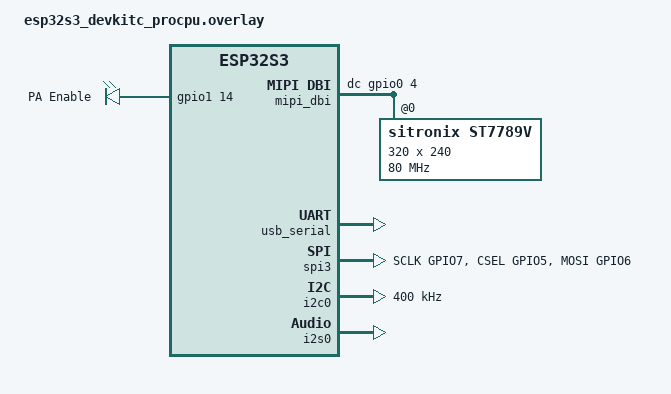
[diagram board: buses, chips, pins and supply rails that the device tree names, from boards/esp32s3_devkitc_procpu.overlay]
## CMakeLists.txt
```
cmake_minimum_required(VERSION 3.20.0)
find_package(Zephyr REQUIRED HINTS $ENV{ZEPHYR_BASE})
project(nes_emulator)

# ── nofrendo source location (from west-managed esp32-nesemu) ─────────────────
# ZEPHYR_BASE = <workspace>/zephyr ; WEST_TOPDIR = <workspace>
get_filename_component(WEST_TOPDIR ${ZEPHYR_BASE} DIRECTORY)
set(NOFRENDO_DIR ${WEST_TOPDIR}/modules/esp32-nesemu/components/nofrendo)

if(NOT IS_DIRECTORY "${NOFRENDO_DIR}")
    message(FATAL_ERROR
        "nofrendo not found at ${NOFRENDO_DIR}\n"
        "Run:  west update\n"
        "Or:   git clone https://github.com/espressif/esp32-nesemu "
        "${WEST_TOPDIR}/modules/esp32-nesemu")
endif()

# Collect all nofrendo .c sources
file(GLOB NOFRENDO_SRCS_ROOT  "${NOFRENDO_DIR}/*.c")
file(GLOB NOFRENDO_SRCS_CPU   "${NOFRENDO_DIR}/cpu/*.c")
file(GLOB NOFRENDO_SRCS_SNSS  "${NOFRENDO_DIR}/libsnss/*.c")
file(GLOB NOFRENDO_SRCS_MAP   "${NOFRENDO_DIR}/mappers/*.c")
file(GLOB NOFRENDO_SRCS_NES   "${NOFRENDO_DIR}/nes/*.c")
file(GLOB NOFRENDO_SRCS_SND   "${NOFRENDO_DIR}/sndhrdw/*.c")

set(NOFRENDO_SRCS
    ${NOFRENDO_SRCS_ROOT}
    ${NOFRENDO_SRCS_CPU}
    ${NOFRENDO_SRCS_SNSS}
    ${NOFRENDO_SRCS_MAP}
    ${NOFRENDO_SRCS_NES}
    ${NOFRENDO_SRCS_SND})

# Exclude config.c — we provide our own config_t stub in osd.c
list(FILTER NOFRENDO_SRCS EXCLUDE REGEX "config\\.c$")

# nofrendo public include directories
set(NOFRENDO_INCS
    ${NOFRENDO_DIR}
    ${NOFRENDO_DIR}/cpu
    ${NOFRENDO_DIR}/libsnss
    ${NOFRENDO_DIR}/mappers
    ${NOFRENDO_DIR}/nes
    ${NOFRENDO_DIR}/sndhrdw)

# ── NES ROM binary embedded via INCBIN ───────────────────────────────────────
set(NES_ROM_FILE "${CMAKE_CURRENT_LIST_DIR}/rom/sbp.nes")
if(NOT EXISTS "${NES_ROM_FILE}")
    message(FATAL_ERROR
        "NES ROM not found: ${NES_ROM_FILE}\n"
        "Place any iNES format ROM as:  nes_emulator/rom/roborun.nes\n"
        "  e.g. RoboRun-NES_1.1.nes from: https://github.com/jones-hm/roborun-nes/releases")
endif()

# Generate rom.S with the absolute ROM path substituted
configure_file(
    ${CMAKE_CURRENT_LIST_DIR}/src/rom.S.in
    ${CMAKE_CURRENT_BINARY_DIR}/rom.S
    @ONLY)

# ── Build target ─────────────────────────────────────────────────────────────
target_sources(app PRIVATE
    src/main.c
    src/osd.c
    src/compat.c
    src/ble_hid.c
    ${CMAKE_CURRENT_BINARY_DIR}/rom.S
    ${NOFRENDO_SRCS})

# Prepend src/ so our header overrides (noftypes.h, memguard.h) shadow nofrendo's
target_include_directories(app BEFORE PRIVATE ${CMAKE_CURRENT_LIST_DIR}/src)
target_include_directories(app PRIVATE ${NOFRENDO_INCS})

# Suppress all warnings for legacy nofrendo source (bool redefinition, etc.)
foreach(src ${NOFRENDO_SRCS})
    set_source_files_properties(${src} PROPERTIES COMPILE_FLAGS "-w")
endforeach()

# nofrendo preprocessor definitions
# NOTE: Do NOT define NOFRENDO_DEBUG (even as 0).
# Defining it makes memguard.h's #ifdef NOFRENDO_DEBUG trigger,
# redefining malloc/free as macros which breaks picolibc stdlib.h.
target_compile_definitions(app PRIVATE
    HOST_LITTLE_ENDIAN=1)

# Suppress bool/type-compat warnings in our OSD layer where nofrendo's
# enum-bool typedef conflicts with picolibc's _Bool keyword from stdbool.h.
set_source_files_properties(
    ${CMAKE_CURRENT_LIST_DIR}/src/osd.c
    PROPERTIES COMPILE_FLAGS
    "-Wno-incompatible-pointer-types -Wno-builtin-macro-redefined")
set_source_files_properties(
    ${CMAKE_CURRENT_LIST_DIR}/src/main.c
    PROPERTIES COMPILE_FLAGS
    "-Wno-builtin-macro-redefined")
```

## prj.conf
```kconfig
# ── Console ──────────────────────────────────────────────────────────────────
CONFIG_PRINTK=y
CONFIG_CONSOLE=y
CONFIG_UART_CONSOLE=y
CONFIG_SERIAL=y

# ── GPIO (display backlight) ─────────────────────────────────────────────────
CONFIG_GPIO=y

# ── SPI + Display ─────────────────────────────────────────────────────────────
CONFIG_SPI=y
CONFIG_DISPLAY=y
CONFIG_MIPI_DBI=y

# ── System heap ──────────────────────────────────────────────────────────────
# nofrendo calls malloc() (via _my_malloc / memguard.h) which uses picolibc's
# heap, NOT Zephyr's k_malloc heap. The libc heap = total DRAM minus everything
# else (including HEAP_MEM_POOL_SIZE). Keep k_malloc heap small so the remaining
# DRAM goes to the libc heap where nofrendo needs it (~130KB).
CONFIG_HEAP_MEM_POOL_SIZE=16384

# ── POSIX API: provides strdup() / snprintf() used by nofrendo ───────────────
CONFIG_POSIX_API=y

# ── Stack — nofrendo has deep call chains ─────────────────────────────────────
CONFIG_MAIN_STACK_SIZE=32768

# ── Logging — DISABLED: nofrendo/log.c defines log_init() which conflicts
# with Zephyr's subsys/logging/log_core.c. printk() still works independently.
# CONFIG_LOG=y

# ── Bluetooth HID Host ───────────────────────────────────────────────────────
CONFIG_BT=y
CONFIG_BT_CENTRAL=y
CONFIG_BT_SMP=y
CONFIG_BT_GATT_CLIENT=y
CONFIG_BT_MAX_CONN=1
CONFIG_BT_MAX_PAIRED=2
CONFIG_BT_ATT_TX_COUNT=6
CONFIG_BT_L2CAP_TX_BUF_COUNT=6
CONFIG_BT_BUF_ACL_RX_SIZE=200
CONFIG_BT_BUF_ACL_TX_SIZE=200
CONFIG_BT_SMP_SC_ONLY=n
CONFIG_BT_SMP_SC_PAIR_ONLY=n
CONFIG_BT_SMP_ENFORCE_MITM=n
CONFIG_BT_SMP_ALLOW_UNAUTH_OVERWRITE=y
CONFIG_BT_KEYS_OVERWRITE_OLDEST=y
CONFIG_BT_BONDABLE=y

# ── BT persistent settings (bond storage) ─────────────────────────────────────
CONFIG_BT_SETTINGS=y
CONFIG_SETTINGS=y
CONFIG_SETTINGS_NVS=y
CONFIG_NVS=y
CONFIG_FLASH=y
CONFIG_FLASH_MAP=y
CONFIG_FLASH_PAGE_LAYOUT=y

# ── Audio: ES8311 DAC via I2C + I2S ──────────────────────────────────────────
CONFIG_I2C=y
CONFIG_I2S=y
CONFIG_DMA=y
CONFIG_I2S_ESP32_TX_BLOCK_COUNT=10
```

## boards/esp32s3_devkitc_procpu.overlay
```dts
/* CHD-ESP32-S3-BOX: NES Emulator
 * ST7789V 320×240 via SPI3 / MIPI-DBI
 * ES8311 Audio DAC via I2C0 + I2S0
 * BLE HID keyboard input
 */

#include <zephyr/dt-bindings/pinctrl/esp-pinctrl-common.h>
#include <dt-bindings/pinctrl/esp32s3-pinctrl.h>
#include <zephyr/dt-bindings/pinctrl/esp32s3-gpio-sigmap.h>
#include <zephyr/dt-bindings/mipi_dbi/mipi_dbi.h>

/ {
	chosen {
		zephyr,console = &usb_serial;
		zephyr,shell-uart = &usb_serial;
		zephyr,display = &st7789v;
	};

	pa_ctrl {
		compatible = "gpio-leds";
		pa_gpio: pa_gpio {
			gpios = <&gpio1 14 GPIO_ACTIVE_HIGH>;
			label = "PA Enable";
		};
	};

	mipi_dbi {
		compatible = "zephyr,mipi-dbi-spi";
		dc-gpios = <&gpio0 4 GPIO_ACTIVE_HIGH>;
		spi-dev = <&spi3>;
		write-only;
		#address-cells = <1>;
		#size-cells = <0>;

		st7789v: st7789v@0 {
			compatible = "sitronix,st7789v";
			mipi-max-frequency = <80000000>;
			reg = <0>;
			width = <320>;
			height = <240>;
			x-offset = <0>;
			y-offset = <0>;
			vcom = <0x19>;
			gctrl = <0x35>;
			vrhs = <0x12>;
			vdvs = <0x20>;
			mdac = <0x60>;
			gamma = <0x01>;
			colmod = <0x55>;
			inversion-off;
			lcm = <0x2c>;
			porch-param = [0c 0c 00 33 33];
			cmd2en-param = [5a 69 02 01];
			pwctrl1-param = [a4 a1];
			pvgam-param = [D0 04 0D 11 13 2B 3F 54 4C 18 0D 0B 1F 23];
			nvgam-param = [D0 04 0C 11 13 2C 3F 44 51 2F 1F 1F 20 23];
			ram-param = [00 F0];
			rgb-param = [CD 08 14];
			mipi-mode = "MIPI_DBI_MODE_SPI_4WIRE";
		};
	};
};

&usb_serial {
	status = "okay";
};

&pinctrl {
	spim3_default: spim3_default {
		group1 {
			pinmux = <SPIM3_SCLK_GPIO7>,
				 <SPIM3_CSEL_GPIO5>;
		};
		group2 {
			pinmux = <SPIM3_MOSI_GPIO6>;
			output-low;
		};
	};

	i2c0_default: i2c0_default {
		group1 {
			pinmux = <I2C0_SDA_GPIO8>,
				 <I2C0_SCL_GPIO18>;
			bias-pull-up;
			drive-open-drain;
			output-high;
		};
	};

	i2s0_default: i2s0_default {
		group1 {
			pinmux = <I2S0_MCLK_GPIO2>,
				 <I2S0_O_WS_GPIO45>,
				 <I2S0_O_BCK_GPIO17>,
				 <I2S0_O_SD_GPIO15>;
			output-enable;
		};
		group2 {
			pinmux = <I2S0_I_SD_GPIO16>;
			input-enable;
		};
	};
};

&spi3 {
	#address-cells = <1>;
	#size-cells = <0>;
	status = "okay";
	pinctrl-0 = <&spim3_default>;
	pinctrl-names = "default";
};

&i2c0 {
	status = "okay";
	clock-frequency = <I2C_BITRATE_FAST>;
	pinctrl-0 = <&i2c0_default>;
	pinctrl-names = "default";
};

i2s_rxtx: &i2s0 {
	pinctrl-0 = <&i2s0_default>;
	pinctrl-names = "default";
	status = "okay";
};

&dma {
	status = "okay";
};
```

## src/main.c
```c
/*
 * NES Emulator — main entry point
 *
 * Board:  CHD-ESP32-S3-BOX (ESP32-S3, 16 MB Flash, 16 MB OctalPSRAM)
 * RTOS:   Zephyr v4.2
 *
 * Flow:
 *   main()
 *     └─ nofrendo_main(0, NULL)           [never returns]
 *           └─ osd_main()                 [our impl in osd.c]
 *                 └─ main_loop("osd:", system_nes)
 *                       ├─ osd_init()     [display ready]
 *                       ├─ osd_getvideoinfo() → vid_init() → zephyr_vid_init()
 *                       ├─ osd_installtimer(60, ...) → k_timer at 60 Hz
 *                       └─ nes_emulate()  [emulation loop, calls osd_getinput
 *                                          and zephyr_custom_blit each frame]
 *
 * Include nofrendo types BEFORE Zephyr headers (see osd.c for explanation).
 */

#include <noftypes.h>
#include <nofrendo.h>
/* Undo memguard.h macro redefinitions (same as memguard.c itself does) */
#undef malloc
#undef free
#undef strdup

#include <zephyr/kernel.h>

int main(void)
{
	printk("=== NES Emulator starting (nofrendo / esp32-nesemu) ===\n");

	/*
	 * nofrendo_main() → osd_main() → main_loop() — does not return
	 * under normal emulation.
	 */
	int rc = nofrendo_main(0, NULL);

	printk("NES Emulator exited with code %d\n", rc);
	return rc;
}
```

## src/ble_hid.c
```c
/*
 * BLE HID Host (Central) - Multi-device
 * Adapted for LVGL input integration — updates g_mouse shared state.
 */

#include <zephyr/types.h>
#include <stddef.h>
#include <string.h>
#include <errno.h>
#include <zephyr/kernel.h>
#include <zephyr/sys/printk.h>
#include <zephyr/sys/byteorder.h>
#include <zephyr/sys/util.h>

#include <zephyr/bluetooth/bluetooth.h>
#include <zephyr/bluetooth/hci.h>
#include <zephyr/bluetooth/conn.h>
#include <zephyr/bluetooth/uuid.h>
#include <zephyr/bluetooth/gatt.h>
#include <zephyr/settings/settings.h>

#include "ble_hid.h"

/* ── Shared state for LVGL ─────────────────────────── */

struct mouse_input_state g_mouse;

/* Keyboard event queue: BT thread → LVGL main thread */
static char __aligned(4) kb_msgq_buf[KB_EVENT_QUEUE_SIZE * sizeof(struct kb_event)];
struct k_msgq kb_events;
volatile bool g_kb_connected;

/* ── HID Service UUIDs ─────────────────────────────── */

#ifndef BT_UUID_HIDS_BOOT_KB_IN_REPORT_VAL
#define BT_UUID_HIDS_BOOT_KB_IN_REPORT_VAL 0x2A22
#endif
#define BT_UUID_HIDS_BOOT_KB_IN_REPORT \
	BT_UUID_DECLARE_16(BT_UUID_HIDS_BOOT_KB_IN_REPORT_VAL)

#ifndef BT_UUID_HIDS_BOOT_MOUSE_IN_REPORT_VAL
#define BT_UUID_HIDS_BOOT_MOUSE_IN_REPORT_VAL 0x2A33
#endif
#define BT_UUID_HIDS_BOOT_MOUSE_IN_REPORT \
	BT_UUID_DECLARE_16(BT_UUID_HIDS_BOOT_MOUSE_IN_REPORT_VAL)

#ifndef BT_UUID_HIDS_REPORT_VAL
#define BT_UUID_HIDS_REPORT_VAL 0x2A4D
#endif
#define BT_UUID_HIDS_REPORT \
	BT_UUID_DECLARE_16(BT_UUID_HIDS_REPORT_VAL)

/* ── Appearance codes ──────────────────────────────── */

#define BT_APPEARANCE_KEYBOARD 0x03C1
#define BT_APPEARANCE_MOUSE    0x03C2
#define BT_APPEARANCE_GAMEPAD  0x03C4

/* ── Keycode to ASCII ──────────────────────────────── */

static const char hid_keycode_to_ascii[128] = {
	[0x04] = 'a', [0x05] = 'b', [0x06] = 'c', [0x07] = 'd',
	[0x08] = 'e', [0x09] = 'f', [0x0A] = 'g', [0x0B] = 'h',
	[0x0C] = 'i', [0x0D] = 'j', [0x0E] = 'k', [0x0F] = 'l',
	[0x10] = 'm', [0x11] = 'n', [0x12] = 'o', [0x13] = 'p',
	[0x14] = 'q', [0x15] = 'r', [0x16] = 's', [0x17] = 't',
	[0x18] = 'u', [0x19] = 'v', [0x1A] = 'w', [0x1B] = 'x',
	[0x1C] = 'y', [0x1D] = 'z',
	[0x1E] = '1', [0x1F] = '2', [0x20] = '3', [0x21] = '4',
	[0x22] = '5', [0x23] = '6', [0x24] = '7', [0x25] = '8',
	[0x26] = '9', [0x27] = '0',
	[0x28] = '\n', [0x29] = 0x1B, [0x2A] = '\b', [0x2B] = '\t',
	[0x2C] = ' ',
	[0x2D] = '-', [0x2E] = '=', [0x2F] = '[', [0x30] = ']',
	[0x31] = '\\', [0x33] = ';', [0x34] = '\'', [0x35] = '`',
	[0x36] = ',', [0x37] = '.', [0x38] = '/',
};

#define MOD_LCTRL  BIT(0)
#define MOD_LSHIFT BIT(1)
#define MOD_LALT   BIT(2)
#define MOD_LGUI   BIT(3)
#define MOD_RCTRL  BIT(4)
#define MOD_RSHIFT BIT(5)
#define MOD_RALT   BIT(6)
#define MOD_RGUI   BIT(7)

/* ── Multi-device state ────────────────────────────── */

#define MAX_HID_DEVICES 2

enum hid_device_type {
	HID_TYPE_UNKNOWN,
	HID_TYPE_KEYBOARD,
	HID_TYPE_MOUSE,
	HID_TYPE_GAMEPAD,
};

#define DISC_SVC          0
#define DISC_ENUM         1
#define DISC_REPORT_CHAR  2
#define DISC_BOOT_CHAR    3
#define DISC_CCC          4

#define MAX_REPORT_CHARS 6

struct hid_device {
	struct bt_conn *conn;
	enum hid_device_type type;
	struct bt_uuid_16 disc_uuid;
	struct bt_gatt_discover_params disc_params;
	struct bt_gatt_subscribe_params sub_params[MAX_REPORT_CHARS];
	uint16_t report_handles[MAX_REPORT_CHARS];
	int report_count;
	int report_try_idx;
	int sub_count;
	int disc_phase;
	uint16_t hid_svc_start;
	uint16_t hid_svc_end;
	bool subscribed;
	uint8_t prev_keys[6];
	uint8_t prev_modifiers;
	uint16_t prev_buttons;
};

static struct hid_device hid_devices[MAX_HID_DEVICES];
static int connect_retry_count;
#define MAX_CONNECT_RETRIES 3

/* ── Helpers ───────────────────────────────────────── */

static struct hid_device *find_device(struct bt_conn *conn)
{
	for (int i = 0; i < MAX_HID_DEVICES; i++) {
		if (hid_devices[i].conn == conn) {
			return &hid_devices[i];
		}
	}
	return NULL;
}

static struct hid_device *alloc_device(void)
{
	for (int i = 0; i < MAX_HID_DEVICES; i++) {
		if (!hid_devices[i].conn) {
			return &hid_devices[i];
		}
	}
	return NULL;
}

static int active_count(void)
{
	int n = 0;
	for (int i = 0; i < MAX_HID_DEVICES; i++) {
		if (hid_devices[i].conn) {
			n++;
		}
	}
	return n;
}

static bool is_connected(const bt_addr_le_t *addr)
{
	for (int i = 0; i < MAX_HID_DEVICES; i++) {
		if (hid_devices[i].conn &&
		    bt_addr_le_eq(addr,
				  bt_conn_get_dst(hid_devices[i].conn))) {
			return true;
		}
	}
	return false;
}

static const char *type_str(enum hid_device_type t)
{
	switch (t) {
	case HID_TYPE_KEYBOARD: return "KB";
	case HID_TYPE_MOUSE:    return "Mouse";
	case HID_TYPE_GAMEPAD:  return "Gamepad";
	default:                return "HID";
	}
}

/* ── Forward declarations ────────────────────────────── */

static void start_scan(void);
static void start_hid_discovery(struct hid_device *dev);

/* ── Subscribe response callback ─────────────────────── */

static void subscribe_cb(struct bt_conn *conn, uint8_t err,
			  struct bt_gatt_subscribe_params *params)
{
	if (err) {
		printk("[KB] CCC write err=%u handle=%u\n",
		       err, params->ccc_handle);
	}
}

/* ── HID keycode to LVGL key mapping ─────────────────── */

/* LVGL key codes (from lv_indev.h):
 * LV_KEY_UP=17, DOWN=18, RIGHT=19, LEFT=20
 * LV_KEY_ENTER=10, ESC=27, BACKSPACE=8, DEL=127
 * LV_KEY_NEXT=9(TAB), PREV=11, HOME=2, END=3
 * Printable chars: ASCII 0x20-0x7E
 */
#define LV_KEY_UP        17
#define LV_KEY_DOWN      18
#define LV_KEY_RIGHT     19
#define LV_KEY_LEFT      20
#define LV_KEY_ESC       27
#define LV_KEY_DEL       127
#define LV_KEY_BACKSPACE 8
#define LV_KEY_ENTER     10
#define LV_KEY_NEXT      9
#define LV_KEY_PREV      11
#define LV_KEY_HOME      2
#define LV_KEY_END       3

static uint32_t hid_to_lv_key(uint8_t kc, uint8_t modifiers)
{
	/* Navigation keys */
	switch (kc) {
	case 0x4F: return LV_KEY_RIGHT;
	case 0x50: return LV_KEY_LEFT;
	case 0x51: return LV_KEY_DOWN;   /* Down */
	case 0x52: return LV_KEY_UP;     /* Up */
	case 0x28: return LV_KEY_ENTER;
	case 0x29: return LV_KEY_ESC;
	case 0x2A: return LV_KEY_BACKSPACE;
	case 0x2B: return LV_KEY_NEXT;  /* Tab */
	case 0x4C: return LV_KEY_DEL;
	case 0x4A: return LV_KEY_HOME;
	case 0x4D: return LV_KEY_END;
	}

	/* Printable characters */
	if (kc < sizeof(hid_keycode_to_ascii)) {
		char ch = hid_keycode_to_ascii[kc];
		if (ch >= 'a' && ch <= 'z' &&
		    (modifiers & (MOD_LSHIFT | MOD_RSHIFT))) {
			ch -= 32;
		}
		if (ch >= 0x20 && ch < 0x7F) {
			return (uint32_t)ch;
		}
	}

	return 0; /* Unknown key — skip */
}

/* ── Keyboard report parsing (pushes LVGL events) ────── */

static void parse_keyboard_report(struct hid_device *dev,
				  const uint8_t *data, uint16_t len)
{
	if (len < 8) {
		return;
	}

	uint8_t modifiers = data[0];
	const uint8_t *keys = &data[2];

	/* Detect new key presses */
	for (int i = 0; i < 6; i++) {
		uint8_t kc = keys[i];
		if (kc == 0x00 || kc == 0x01) {
			continue;
		}
		bool was_pressed = false;
		for (int j = 0; j < 6; j++) {
			if (dev->prev_keys[j] == kc) {
				was_pressed = true;
				break;
			}
		}
		if (!was_pressed) {
			uint32_t lv_key = hid_to_lv_key(kc, modifiers);
			if (lv_key) {
				struct kb_event evt = {
					.key = lv_key,
					.pressed = 1
				};
				k_msgq_put(&kb_events, &evt, K_NO_WAIT);
			}
		}
	}

	/* Detect key releases */
	for (int i = 0; i < 6; i++) {
		uint8_t kc = dev->prev_keys[i];
		if (kc == 0x00 || kc == 0x01) {
			continue;
		}
		bool still = false;
		for (int j = 0; j < 6; j++) {
			if (keys[j] == kc) {
				still = true;
				break;
			}
		}
		if (!still) {
			uint32_t lv_key = hid_to_lv_key(kc, dev->prev_modifiers);
			if (lv_key) {
				struct kb_event evt = {
					.key = lv_key,
					.pressed = 0
				};
				k_msgq_put(&kb_events, &evt, K_NO_WAIT);
			}
		}
	}

	dev->prev_modifiers = modifiers;
	memcpy(dev->prev_keys, keys, 6);
}

/* ── Mouse report parsing (updates g_mouse for LVGL) ── */

static void parse_mouse_report(struct hid_device *dev,
			       const uint8_t *data, uint16_t len)
{
	if (len < 3) {
		return;
	}

	uint16_t buttons;
	int16_t x, y;
	int8_t vwheel = 0;

	if (len >= 7) {
		/* Logitech Report Protocol (7 bytes) */
		buttons = data[0] | (data[1] << 8);
		x = data[2] | ((data[3] & 0x0F) << 8);
		if (x & 0x800) {
			x |= 0xF000;
		}
		y = (data[3] >> 4) | (data[4] << 4);
		if (y & 0x800) {
			y |= 0xF000;
		}
		vwheel = (int8_t)data[5];
	} else {
		/* Boot Protocol (3-4 bytes) */
		buttons = data[0];
		x = (int8_t)data[1];
		y = (int8_t)data[2];
		vwheel = (len >= 4) ? (int8_t)data[3] : 0;
	}

	/* Update shared state for LVGL */
	g_mouse.x = CLAMP((int)g_mouse.x + x, 0, SCREEN_WIDTH - 1);
	g_mouse.y = CLAMP((int)g_mouse.y + y, 0, SCREEN_HEIGHT - 1);
	g_mouse.buttons = buttons;
	g_mouse.wheel = vwheel;

	/* Log button changes */
	uint16_t btn_changed = buttons ^ dev->prev_buttons;
	if (btn_changed) {
		printk("[Mouse] btn=0x%04x", buttons);
		if (btn_changed & 0x01)
			printk(" %cL", (buttons & 0x01) ? '+' : '-');
		if (btn_changed & 0x02)
			printk(" %cR", (buttons & 0x02) ? '+' : '-');
		if (btn_changed & 0x04)
			printk(" %cM", (buttons & 0x04) ? '+' : '-');
		if (btn_changed & 0x08)
			printk(" %cBack", (buttons & 0x08) ? '+' : '-');
		if (btn_changed & 0x10)
			printk(" %cFwd", (buttons & 0x10) ? '+' : '-');
		printk("\n");
	}
	if (vwheel) {
		printk("[Mouse] vw=%d\n", vwheel);
	}

	dev->prev_buttons = buttons;
}

/* ── GATT notification callback ──────────────────────── */

static struct hid_device *find_device_by_sub(
	struct bt_gatt_subscribe_params *params, int *report_idx)
{
	for (int i = 0; i < MAX_HID_DEVICES; i++) {
		ptrdiff_t off = params - hid_devices[i].sub_params;
		if (off >= 0 && off < MAX_REPORT_CHARS) {
			if (report_idx) {
				*report_idx = (int)off;
			}
			return &hid_devices[i];
		}
	}
	return NULL;
}

static uint8_t notify_func(struct bt_conn *conn,
			    struct bt_gatt_subscribe_params *params,
			    const void *data, uint16_t length)
{
	int rpt_idx = -1;
	struct hid_device *dev = find_device_by_sub(params, &rpt_idx);

	if (!dev) {
		return BT_GATT_ITER_STOP;
	}

	if (!data) {
		printk("[%s] Unsubscribed (report#%d)\n",
		       type_str(dev->type), rpt_idx);
		dev->sub_count--;
		if (dev->sub_count <= 0) {
			dev->subscribed = false;
		}
		return BT_GATT_ITER_STOP;
	}

	switch (dev->type) {
	case HID_TYPE_KEYBOARD:
		parse_keyboard_report(dev, data, length);
		break;
	case HID_TYPE_MOUSE: {
		const uint8_t *d = data;
		/* Skip HID++ vendor reports */
		if (length > 7) {
			break;
		}
		if (length == 7 && d[0] == 0x10 && d[1] != 0x00) {
			break;
		}
		parse_mouse_report(dev, d, length);
		break;
	}
	default:
		break;
	}

	return BT_GATT_ITER_CONTINUE;
}

/* ── GATT discovery state machine ────────────────────── */

static void try_next_report(struct hid_device *dev);

static uint8_t discover_func(struct bt_conn *conn,
			     const struct bt_gatt_attr *attr,
			     struct bt_gatt_discover_params *params)
{
	struct hid_device *dev = CONTAINER_OF(params,
					      struct hid_device, disc_params);
	int err;

	if (!attr) {
		if (dev->disc_phase == DISC_ENUM) {
			printk("[%s] Enum done: %d Report chars\n",
			       type_str(dev->type), dev->report_count);
			if (dev->report_count > 0) {
				dev->report_try_idx = 0;
				try_next_report(dev);
			} else {
				dev->disc_phase = DISC_BOOT_CHAR;
				if (dev->type == HID_TYPE_MOUSE) {
					memcpy(&dev->disc_uuid,
					       BT_UUID_HIDS_BOOT_MOUSE_IN_REPORT,
					       sizeof(dev->disc_uuid));
				} else {
					memcpy(&dev->disc_uuid,
					       BT_UUID_HIDS_BOOT_KB_IN_REPORT,
					       sizeof(dev->disc_uuid));
				}
				dev->disc_params.uuid = &dev->disc_uuid.uuid;
				dev->disc_params.func = discover_func;
				dev->disc_params.start_handle = dev->hid_svc_start;
				dev->disc_params.end_handle = dev->hid_svc_end;
				dev->disc_params.type = BT_GATT_DISCOVER_CHARACTERISTIC;
				bt_gatt_discover(conn, &dev->disc_params);
			}
			return BT_GATT_ITER_STOP;
		}
		if (dev->disc_phase == DISC_BOOT_CHAR) {
			printk("[%s] No usable HID char\n", type_str(dev->type));
			return BT_GATT_ITER_STOP;
		}
		if (dev->disc_phase == DISC_CCC) {
			dev->report_try_idx++;
			try_next_report(dev);
			return BT_GATT_ITER_STOP;
		}
		return BT_GATT_ITER_STOP;
	}

	if (dev->disc_phase == DISC_SVC) {
		struct bt_gatt_service_val *svc = attr->user_data;
		dev->hid_svc_start = attr->handle + 1;
		dev->hid_svc_end = svc->end_handle;
		printk("[%s] HID Service (handles %u-%u)\n",
		       type_str(dev->type), attr->handle, dev->hid_svc_end);

		dev->disc_phase = DISC_ENUM;
		dev->report_count = 0;
		dev->disc_params.uuid = NULL;
		dev->disc_params.start_handle = dev->hid_svc_start;
		dev->disc_params.end_handle = dev->hid_svc_end;
		dev->disc_params.type = BT_GATT_DISCOVER_CHARACTERISTIC;
		bt_gatt_discover(conn, &dev->disc_params);
	} else if (dev->disc_phase == DISC_ENUM) {
		struct bt_gatt_chrc *chrc = attr->user_data;
		uint16_t uuid16 = 0;
		if (chrc->uuid->type == BT_UUID_TYPE_16) {
			uuid16 = BT_UUID_16(chrc->uuid)->val;
		}
		if (uuid16 == BT_UUID_HIDS_REPORT_VAL &&
		    (chrc->properties & BT_GATT_CHRC_NOTIFY) &&
		    dev->report_count < 1) {  /* Only subscribe to 1st report for keyboards */
			dev->report_handles[dev->report_count++] =
				chrc->value_handle;
		}
		return BT_GATT_ITER_CONTINUE;
	} else if (dev->disc_phase == DISC_BOOT_CHAR) {
		dev->disc_phase = DISC_CCC;
		dev->sub_params[dev->report_try_idx].value_handle =
			bt_gatt_attr_value_handle(attr);
		memcpy(&dev->disc_uuid, BT_UUID_GATT_CCC,
		       sizeof(dev->disc_uuid));
		dev->disc_params.uuid = &dev->disc_uuid.uuid;
		dev->disc_params.start_handle = attr->handle + 2;
		dev->disc_params.type = BT_GATT_DISCOVER_DESCRIPTOR;
		bt_gatt_discover(conn, &dev->disc_params);
	} else if (dev->disc_phase == DISC_CCC) {
		int idx = dev->report_try_idx;
		struct bt_gatt_subscribe_params *sp = &dev->sub_params[idx];
		sp->notify = notify_func;
		sp->subscribe = subscribe_cb;
		sp->value = BT_GATT_CCC_NOTIFY;
		sp->ccc_handle = attr->handle;
		atomic_set_bit(sp->flags, BT_GATT_SUBSCRIBE_FLAG_VOLATILE);

		err = bt_gatt_subscribe(conn, sp);
		if (err && err != -EALREADY) {
			printk("[%s] Subscribe #%d failed (%d)\n",
			       type_str(dev->type), idx, err);
		} else {
			dev->sub_count++;
			dev->subscribed = true;
		}

		dev->report_try_idx++;
		if (dev->report_try_idx < dev->report_count) {
			try_next_report(dev);
		} else {
			printk("[%s] All %d reports subscribed\n",
			       type_str(dev->type), dev->sub_count);
			if (active_count() < MAX_HID_DEVICES) {
				start_scan();
			}
		}
	}

	return BT_GATT_ITER_STOP;
}

static void try_next_report(struct hid_device *dev)
{
	if (dev->report_try_idx >= dev->report_count) {
		dev->disc_phase = DISC_BOOT_CHAR;
		if (dev->type == HID_TYPE_MOUSE) {
			memcpy(&dev->disc_uuid,
			       BT_UUID_HIDS_BOOT_MOUSE_IN_REPORT,
			       sizeof(dev->disc_uuid));
		} else {
			memcpy(&dev->disc_uuid,
			       BT_UUID_HIDS_BOOT_KB_IN_REPORT,
			       sizeof(dev->disc_uuid));
		}
		dev->disc_params.uuid = &dev->disc_uuid.uuid;
		dev->disc_params.func = discover_func;
		dev->disc_params.start_handle = dev->hid_svc_start;
		dev->disc_params.end_handle = dev->hid_svc_end;
		dev->disc_params.type = BT_GATT_DISCOVER_CHARACTERISTIC;
		bt_gatt_discover(dev->conn, &dev->disc_params);
		return;
	}

	uint16_t val_handle = dev->report_handles[dev->report_try_idx];
	dev->disc_phase = DISC_CCC;
	dev->sub_params[dev->report_try_idx].value_handle = val_handle;
	memcpy(&dev->disc_uuid, BT_UUID_GATT_CCC,
	       sizeof(dev->disc_uuid));
	dev->disc_params.uuid = &dev->disc_uuid.uuid;
	dev->disc_params.func = discover_func;
	dev->disc_params.start_handle = val_handle + 1;
	dev->disc_params.end_handle = dev->hid_svc_end;
	dev->disc_params.type = BT_GATT_DISCOVER_DESCRIPTOR;
	bt_gatt_discover(dev->conn, &dev->disc_params);
}

static void start_hid_discovery(struct hid_device *dev)
{
	dev->disc_phase = DISC_SVC;
	memcpy(&dev->disc_uuid, BT_UUID_HIDS, sizeof(dev->disc_uuid));
	dev->disc_params.uuid = &dev->disc_uuid.uuid;
	dev->disc_params.func = discover_func;
	dev->disc_params.start_handle = BT_ATT_FIRST_ATTRIBUTE_HANDLE;
	dev->disc_params.end_handle = BT_ATT_LAST_ATTRIBUTE_HANDLE;
	dev->disc_params.type = BT_GATT_DISCOVER_PRIMARY;
	bt_gatt_discover(dev->conn, &dev->disc_params);
}

/* ── BLE Scanning ────────────────────────────────────── */

struct scan_result {
	bool has_hid_uuid;
	bool has_hid_appearance;
	char name[32];
	uint16_t appearance;
};

static struct scan_result current_scan;

static bool eir_found(struct bt_data *data, void *user_data)
{
	switch (data->type) {
	case BT_DATA_NAME_COMPLETE:
	case BT_DATA_NAME_SHORTENED: {
		size_t len = MIN(data->data_len,
				 sizeof(current_scan.name) - 1);
		memcpy(current_scan.name, data->data, len);
		current_scan.name[len] = '\0';
		break;
	}
	case BT_DATA_GAP_APPEARANCE:
		if (data->data_len == 2) {
			memcpy(&current_scan.appearance, data->data, 2);
			current_scan.appearance =
				sys_le16_to_cpu(current_scan.appearance);
			if (current_scan.appearance == BT_APPEARANCE_KEYBOARD ||
			    current_scan.appearance == BT_APPEARANCE_MOUSE ||
			    current_scan.appearance == BT_APPEARANCE_GAMEPAD) {
				current_scan.has_hid_appearance = true;
			}
		}
		break;
	case BT_DATA_UUID16_SOME:
	case BT_DATA_UUID16_ALL:
	case BT_DATA_SOLICIT16:
		if (data->data_len % sizeof(uint16_t) != 0U) {
			break;
		}
		for (int i = 0; i < data->data_len; i += sizeof(uint16_t)) {
			uint16_t u16;
			memcpy(&u16, &data->data[i], sizeof(u16));
			if (sys_le16_to_cpu(u16) == BT_UUID_HIDS_VAL) {
				current_scan.has_hid_uuid = true;
			}
		}
		break;
	}
	return true;
}

static enum hid_device_type guess_type(const char *name, uint16_t appearance)
{
	if (appearance == BT_APPEARANCE_KEYBOARD) return HID_TYPE_KEYBOARD;
	if (appearance == BT_APPEARANCE_MOUSE)    return HID_TYPE_MOUSE;
	if (appearance == BT_APPEARANCE_GAMEPAD)  return HID_TYPE_GAMEPAD;
	if (name[0]) {
		if (strstr(name, "Keyboard") || strstr(name, "keyboard") ||
		    strstr(name, "KB"))
			return HID_TYPE_KEYBOARD;
		if (strstr(name, "Mouse") || strstr(name, "mouse") ||
		    strstr(name, "M720") || strstr(name, "Triathlon"))
			return HID_TYPE_MOUSE;
		if (strstr(name, "Gamepad") || strstr(name, "gamepad") ||
		    strstr(name, "Controller"))
			return HID_TYPE_GAMEPAD;
	}
	return HID_TYPE_UNKNOWN;
}

static void try_connect(const bt_addr_le_t *addr,
			enum hid_device_type type)
{
	struct hid_device *dev;
	static const struct bt_le_conn_param mouse_param =
		BT_LE_CONN_PARAM_INIT(6, 16, 0, 400);

	dev = alloc_device();
	if (!dev) {
		return;
	}

	printk("[SCAN] Connecting as %s...\n", type_str(type));
	bt_le_scan_stop();

	dev->type = type;
	const struct bt_le_conn_param *param =
		(type == HID_TYPE_MOUSE) ? &mouse_param :
					   BT_LE_CONN_PARAM_DEFAULT;
	int err = bt_conn_le_create(addr, BT_CONN_LE_CREATE_CONN,
				    param, &dev->conn);
	if (err) {
		printk("[SCAN] Create conn failed (%d)\n", err);
		memset(dev, 0, sizeof(*dev));
		start_scan();
	}
}

static void device_found(const bt_addr_le_t *addr, int8_t rssi,
			  uint8_t type, struct net_buf_simple *ad)
{
	if (type != BT_GAP_ADV_TYPE_ADV_IND &&
	    type != BT_GAP_ADV_TYPE_ADV_DIRECT_IND) {
		return;
	}
	if (is_connected(addr) || !alloc_device()) {
		return;
	}

	memset(&current_scan, 0, sizeof(current_scan));
	bt_data_parse(ad, eir_found, NULL);

	/* Only log HID devices (that we will try to connect to) */
	if (current_scan.has_hid_uuid || current_scan.has_hid_appearance) {
		char dev[BT_ADDR_LE_STR_LEN];
		bt_addr_le_to_str(addr, dev, sizeof(dev));
		enum hid_device_type dt = guess_type(current_scan.name,
						     current_scan.appearance);
		printk("[SCAN] %s '%s' → %s\n", dev, current_scan.name,
		       type_str(dt));
		/* Save name for LVGL status display */
		if (dt == HID_TYPE_MOUSE && current_scan.name[0]) {
			strncpy(g_mouse.name, current_scan.name,
				sizeof(g_mouse.name) - 1);
		}
		try_connect(addr, dt);
	}
}

static void start_scan(void)
{
	if (active_count() >= MAX_HID_DEVICES) {
		return;
	}
	struct bt_le_scan_param scan_param = {
		.type     = BT_LE_SCAN_TYPE_ACTIVE,
		.options  = BT_LE_SCAN_OPT_NONE,
		.interval = BT_GAP_SCAN_FAST_INTERVAL,
		.window   = BT_GAP_SCAN_FAST_WINDOW,
	};
	int err = bt_le_scan_start(&scan_param, device_found);
	if (err && err != -EALREADY) {
		printk("[BLE] Scan start failed (%d)\n", err);
	}
}

/* ── Connection callbacks ────────────────────────────── */

static bool le_param_req(struct bt_conn *conn,
			 struct bt_le_conn_param *param)
{
	return true;
}

static void connected(struct bt_conn *conn, uint8_t conn_err)
{
	struct hid_device *dev = find_device(conn);
	char addr[BT_ADDR_LE_STR_LEN];
	bt_addr_le_to_str(bt_conn_get_dst(conn), addr, sizeof(addr));

	if (conn_err) {
		printk("[BLE] Failed to connect %s (err %u)\n", addr, conn_err);
		if (dev) {
			bt_conn_unref(dev->conn);
			memset(dev, 0, sizeof(*dev));
		}
		start_scan();
		return;
	}
	if (!dev) {
		bt_conn_disconnect(conn, BT_HCI_ERR_REMOTE_USER_TERM_CONN);
		return;
	}

	printk("[BLE] Connected: %s as %s (%d/%d)\n",
	       addr, type_str(dev->type), active_count(), MAX_HID_DEVICES);

	if (dev->type == HID_TYPE_MOUSE) {
		g_mouse.connected = true;
	} else if (dev->type == HID_TYPE_KEYBOARD) {
		g_kb_connected = true;
	}

	bt_conn_set_security(conn, BT_SECURITY_L2);
}

static void disconnected(struct bt_conn *conn, uint8_t reason)
{
	struct hid_device *dev = find_device(conn);
	char addr[BT_ADDR_LE_STR_LEN];
	bt_addr_le_to_str(bt_conn_get_dst(conn), addr, sizeof(addr));
	printk("[BLE] Disconnected: %s reason 0x%02x\n", addr, reason);

	if (dev) {
		if (dev->type == HID_TYPE_MOUSE) {
			g_mouse.connected = false;
		} else if (dev->type == HID_TYPE_KEYBOARD) {
			g_kb_connected = false;
		}
		bt_conn_unref(dev->conn);
		memset(dev, 0, sizeof(*dev));
	}

	connect_retry_count++;
	if (connect_retry_count >= MAX_CONNECT_RETRIES) {
		connect_retry_count = 0;
		k_sleep(K_SECONDS(10));
	}
	start_scan();
}

static void security_changed(struct bt_conn *conn, bt_security_t level,
			     enum bt_security_err err)
{
	if (!err) {
		char addr[BT_ADDR_LE_STR_LEN];
		bt_addr_le_to_str(bt_conn_get_dst(conn), addr, sizeof(addr));
		printk("[BLE] Security: %s level %u\n", addr, level);
	}
}

BT_CONN_CB_DEFINE(conn_callbacks) = {
	.connected = connected,
	.disconnected = disconnected,
	.le_param_req = le_param_req,
	.security_changed = security_changed,
};

/* ── Pairing callbacks ───────────────────────────────── */

static void auth_cancel(struct bt_conn *conn) {}

static void pairing_complete(struct bt_conn *conn, bool bonded)
{
	struct hid_device *dev = find_device(conn);
	char addr[BT_ADDR_LE_STR_LEN];
	bt_addr_le_to_str(bt_conn_get_dst(conn), addr, sizeof(addr));
	printk("[BLE] Paired: %s, bonded=%s\n", addr, bonded ? "yes" : "no");

	if (dev) {
		connect_retry_count = 0;
		start_hid_discovery(dev);
	}
}

static void pairing_failed(struct bt_conn *conn, enum bt_security_err reason)
{
	printk("[BLE] Pairing failed, reason %d — clearing all bonds\n", reason);
	bt_unpair(BT_ID_DEFAULT, BT_ADDR_LE_ANY);
}

static struct bt_conn_auth_cb auth_cb = {
	.cancel = auth_cancel,
};

static struct bt_conn_auth_info_cb auth_info_cb = {
	.pairing_complete = pairing_complete,
	.pairing_failed = pairing_failed,
};

/* ── Init ────────────────────────────────────────────── */

int ble_hid_init(void)
{
	int err;

	k_msgq_init(&kb_events, kb_msgq_buf,
		    sizeof(struct kb_event), KB_EVENT_QUEUE_SIZE);

	err = bt_enable(NULL);
	if (err) {
		printk("[BLE] BT init failed (%d)\n", err);
		return err;
	}
	printk("[BLE] Bluetooth initialized\n");

	settings_load();

	bt_conn_auth_cb_register(&auth_cb);
	bt_conn_auth_info_cb_register(&auth_info_cb);

	start_scan();
	return 0;
}
```

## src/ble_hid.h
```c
/*
 * BLE HID Host — shared state header
 * Provides mouse/keyboard state for LVGL input integration
 */

#ifndef BLE_HID_H
#define BLE_HID_H

#include <stdint.h>
#include <stdbool.h>
#include <zephyr/kernel.h>

#define SCREEN_WIDTH  320
#define SCREEN_HEIGHT 240

/* ── Mouse shared state (written by BT thread, read by LVGL) ── */

struct mouse_input_state {
	int16_t x;
	int16_t y;
	uint16_t buttons;
	int8_t wheel;
	bool connected;
	char name[32];
};

extern struct mouse_input_state g_mouse;

/* ── Keyboard event queue (BT thread → LVGL thread) ── */

struct kb_event {
	uint32_t key;       /* LVGL key code or ASCII char */
	uint8_t pressed;    /* 1 = pressed, 0 = released */
};

#define KB_EVENT_QUEUE_SIZE 16

extern struct k_msgq kb_events;
extern volatile bool g_kb_connected;

int ble_hid_init(void);

#endif
```

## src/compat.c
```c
/*
 * compat.c — Zephyr compatibility shims for nofrendo
 *
 * nofrendo uses a handful of POSIX functions that may not exist in Zephyr's
 * minimal libc.  Provide them here so we avoid pulling in full newlib.
 */

#include <zephyr/kernel.h>
#include <string.h>
#include <stdlib.h>

/*
 * strdup — duplicate a string using the Zephyr system heap.
 * Used by nofrendo.c to copy filenames ("osd:").
 */
char *strdup(const char *s)
{
	if (!s) {
		return NULL;
	}
	size_t len = strlen(s) + 1u;
	char *dup = k_malloc(len);

	if (dup) {
		memcpy(dup, s, len);
	}
	return dup;
}
```

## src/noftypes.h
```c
/*
** noftypes.h — Zephyr port override
**
** Shadows nofrendo's original noftypes.h so it is found first via the
** "src/" BEFORE-PRIVATE include path added in CMakeLists.txt.
**
** Problem in the original:
**   1. noftypes.h defines: typedef enum { false=0, true=1 } bool;
**   2. It then does:        #include <log.h>
**   3. log.h → stdio.h → picolibc's stdbool.h → #define bool _Bool
**   4. After step 3, bool in source text maps to the C99 keyword _Bool.
**   5. Any function declared (with enum bool) before step 3 now conflicts
**      with its definition (with _Bool) after step 3.
**      → "error: conflicting types for 'ppu_displaysprites'"
**
** Fix: Use typedef _Bool bool instead of the enum typedef.
**   typedef _Bool bool  →  bool and _Bool are the same underlying type.
**   stdbool.h's "#define bool _Bool" just redefines bool to expand to
**   the same _Bool keyword. Function declarations and definitions always
**   resolve to the same type → no conflict.
**
** All other content is identical to the original noftypes.h.
*/

#ifndef _TYPES_H_
#define _TYPES_H_

/* Define this if running on little-endian (x86) systems */
#define  HOST_LITTLE_ENDIAN

#ifdef __GNUC__
#define  INLINE      static inline
#define  ZERO_LENGTH 0
#elif defined(WIN32)
#define  INLINE      static __inline
#define  ZERO_LENGTH 0
#else /* crapintosh? */
#define  INLINE      static
#define  ZERO_LENGTH 1
#endif

/* quell stupid compiler warnings */
#define  UNUSED(x)   ((x) = (x))

typedef  signed char    int8;
typedef  signed short   int16;
typedef  signed int     int32;
typedef  unsigned char  uint8;
typedef  unsigned short uint16;
typedef  unsigned int   uint32;

#ifndef __cplusplus

/*
 * CHANGED from original: use C99 _Bool as the underlying type for bool so
 * that including stdbool.h later (via stdio.h → picolibc) is harmless.
 * stdbool.h defines "#define bool _Bool" which is identical to this typedef
 * (both resolve to the same _Bool type), preventing any function-type
 * mismatch between declarations and definitions.
 */
#ifndef bool
typedef _Bool bool;
#endif
#ifndef false
#define false 0
#endif
#ifndef true
#define true  1
#endif

#ifndef  NULL
#define  NULL     ((void *) 0)
#endif

#endif /* !__cplusplus */

#include <memguard.h>
#include <log.h>

#ifdef NOFRENDO_DEBUG

#define  ASSERT(expr)      log_assert((int) (expr), __LINE__, __FILE__, NULL)
#define  ASSERT_MSG(msg)   log_assert(false, __LINE__, __FILE__, (msg))

#else /* !NOFRENDO_DEBUG */

#define  ASSERT(expr)
#define  ASSERT_MSG(msg)

#endif /* !NOFRENDO_DEBUG */

#endif /* _TYPES_H_ */
```
